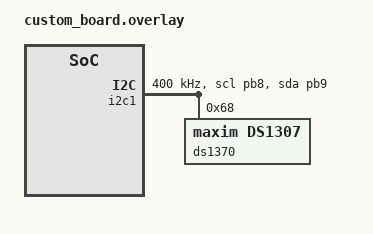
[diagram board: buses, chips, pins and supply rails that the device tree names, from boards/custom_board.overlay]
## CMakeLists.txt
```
cmake_minimum_required(VERSION 3.20.0)

list(APPEND BOARD_ROOT ${CMAKE_CURRENT_SOURCE_DIR}/../../)
find_package(Zephyr REQUIRED HINTS $ENV{ZEPHYR_BASE})

project(
    ds1307
    VERSION 0.1
    DESCRIPTION "ds1307 driver sample."
    LANGUAGES C
)

target_sources(
    app
    PRIVATE
    src/main.c
)
```

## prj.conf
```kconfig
CONFIG_RTC=y
CONFIG_RTC_DS1307=y
```

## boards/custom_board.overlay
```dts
/ {
    chosen {
        app-led = &green_led_2;
    };

    aliases {
        rtc-node = &ds1370;
    };
};

&i2c1 {
    pinctrl-0 = <&i2c1_scl_pb8 &i2c1_sda_pb9>;
    pinctrl-names = "default";
    clock-frequency = <400000>;
    status = "okay";

    ds1370: ds1307@68 {
        compatible = "maxim,ds1307";
        reg = <0x68>;
    };
};
```

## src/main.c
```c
#include <zephyr/drivers/gpio.h>
#include <zephyr/drivers/i2c.h>
#include <zephyr/drivers/rtc.h>
#include <zephyr/kernel.h>

#define SLEEP_TIME_MS 1000U
#define LED_NODE DT_CHOSEN(app_led)
#define RTC_NODE DT_ALIAS(rtc_node)

static const struct gpio_dt_spec led = GPIO_DT_SPEC_GET(LED_NODE, gpios);
static const struct device *rtc_device = DEVICE_DT_GET(RTC_NODE);

int main(void)
{
    int err = 0;

    if (!gpio_is_ready_dt(&led))
    {
        return -1;
    }
    err = gpio_pin_configure_dt(&led, GPIO_OUTPUT_ACTIVE);
    if (err < 0)
    {
        return -1;
    }

    if (!device_is_ready(rtc_device))
    {
        printk("Device is not ready!");
    }
    err = device_init(rtc_device);
    if (err < 0)
    {
        printk("Failed to init rtc device\n");
    }

    struct rtc_time time;
    memset(&time, 0, sizeof(time));

    err = rtc_set_time(rtc_device, &time);
    if (err < 0)
    {
        printk("Failed to set time\n");
    }

    while (1)
    {
        (void)gpio_pin_toggle_dt(&led);
        k_msleep(SLEEP_TIME_MS);
        err = rtc_get_time(rtc_device, &time);
        printk("Got current time is: %02d:%02d:%02d, with code %d\n", time.tm_hour, time.tm_min, time.tm_sec, err);
    }

    return 0;
}
```
